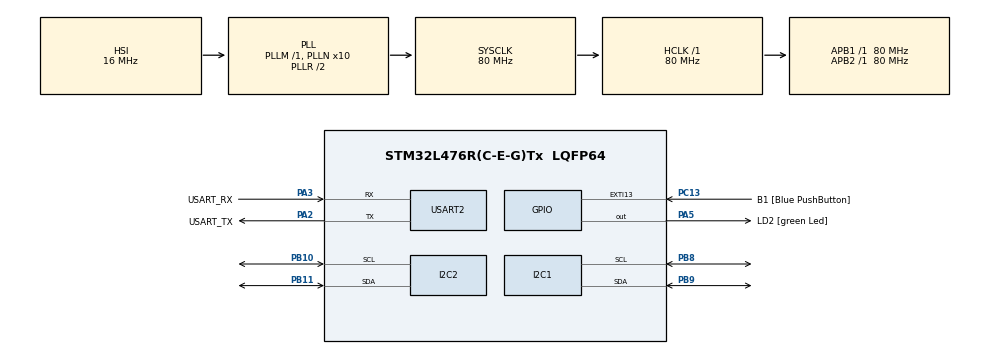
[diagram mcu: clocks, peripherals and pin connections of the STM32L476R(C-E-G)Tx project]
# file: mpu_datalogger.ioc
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I2C1.Timing=0x10D19CE4
I2C2.Timing=0x10D19CE4
Mcu.Family=STM32L4
Mcu.Name=STM32L476R(C-E-G)Tx
Mcu.Package=LQFP64
NVIC.PriorityGroup=NVIC_PRIORITYGROUP_4
PA13\ (JTMS-SWDIO).GPIO_Label=TMS
PA13\ (JTMS-SWDIO).Mode=Serial_Wire
PA13\ (JTMS-SWDIO).Signal=SYS_JTMS-SWDIO
PA14\ (JTCK-SWCLK).GPIO_Label=TCK
PA14\ (JTCK-SWCLK).Mode=Serial_Wire
PA14\ (JTCK-SWCLK).Signal=SYS_JTCK-SWCLK
PA2.GPIO_Label=USART_TX
PA2.GPIO_Mode=GPIO_MODE_AF_PP
PA2.GPIO_PuPd=GPIO_NOPULL
PA2.GPIO_Speed=GPIO_SPEED_FREQ_VERY_HIGH
PA2.Mode=Asynchronous
PA2.Signal=USART2_TX
PA3.GPIO_Label=USART_RX
PA3.GPIO_Mode=GPIO_MODE_AF_PP
PA3.GPIO_PuPd=GPIO_NOPULL
PA3.GPIO_Speed=GPIO_SPEED_FREQ_VERY_HIGH
PA3.Mode=Asynchronous
PA3.Signal=USART2_RX
PA5.GPIO_Label=LD2 [green Led]
PA5.GPIO_ModeDefaultOutputPP=GPIO_MODE_OUTPUT_PP
PA5.GPIO_PuPd=GPIO_NOPULL
PA5.GPIO_Speed=GPIO_SPEED_FREQ_LOW
PA5.Signal=GPIO_Output
PB10.Mode=I2C
PB10.Signal=I2C2_SCL
PB11.Mode=I2C
PB11.Signal=I2C2_SDA
PB3\ (JTDO-TRACESWO).GPIO_Label=SWO
PB3\ (JTDO-TRACESWO).Signal=SYS_JTDO-SWO
PB8.Mode=I2C
PB8.Signal=I2C1_SCL
PB9.Mode=I2C
PB9.Signal=I2C1_SDA
PC13.GPIO_Label=B1 [Blue PushButton]
PC13.GPIO_ModeDefaultEXTI=GPIO_MODE_IT_FALLING
PC13.GPIO_PuPd=GPIO_NOPULL
PC13.Signal=GPXTI13
PC14-OSC32_IN\ (PC14).Mode=LSE-External-Oscillator
PC14-OSC32_IN\ (PC14).Signal=RCC_OSC32_IN
PC15-OSC32_OUT\ (PC15).Mode=LSE-External-Oscillator
PC15-OSC32_OUT\ (PC15).Signal=RCC_OSC32_OUT
PH0-OSC_IN\ (PH0).Signal=RCC_OSC_IN
PH1-OSC_OUT\ (PH1).Signal=RCC_OSC_OUT
ProjectManager.HeapSize=0x200
ProjectManager.StackSize=0x400
ProjectManager.TargetToolchain=STM32CubeIDE
RCC.ADCFreq_Value=64000000
RCC.AHBFreq_Value=80000000
RCC.APB1Freq_Value=80000000
RCC.APB1TimFreq_Value=80000000
RCC.APB2Freq_Value=80000000
RCC.APB2TimFreq_Value=80000000
RCC.CortexFreq_Value=80000000
RCC.HCLKFreq_Value=80000000
RCC.HSE_VALUE=8000000
RCC.HSI_VALUE=16000000
RCC.MSI_VALUE=4000000
RCC.PLLN=10
RCC.PLLSourceVirtual=RCC_PLLSOURCE_HSI
RCC.PREFETCH_ENABLE=1
RCC.SYSCLKFreq_VALUE=80000000
RCC.SYSCLKSource=RCC_SYSCLKSOURCE_PLLCLK
RCC.USBFreq_Value=64000000
RCC.VCOOutputFreq_Value=160000000
USART2.VirtualMode-Asynchronous=VM_ASYNC
board=NUCLEO-L476RG

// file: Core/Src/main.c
/* USER CODE BEGIN Header */
/**
 ******************************************************************************
 * @file           : main.c
 * @brief          : Main program body
 ******************************************************************************
 * @attention
 *
 * Copyright (c) 2024 STMicroelectronics.
 * All rights reserved.
 *
 * This software is licensed under terms that can be found in the LICENSE file
 * in the root directory of this software component.
 * If no LICENSE file comes with this software, it is provided AS-IS.
 *
 ******************************************************************************
 */
/* USER CODE END Header */
#include "main.h"

/* USER CODE BEGIN Includes */
#include"stdio.h"
#include"string.h"
#include"mpu.h"
/* USER CODE END Includes */

/* USER CODE BEGIN PM */
#define BUFFER_SIZE 1
#define AXIS        3
/* USER CODE END PM */

I2C_HandleTypeDef hi2c1;
I2C_HandleTypeDef hi2c2;

UART_HandleTypeDef huart2;

/* USER CODE BEGIN PV */
float mpu_buffer[BUFFER_SIZE * AXIS] = { 0 };
/* USER CODE END PV */

void SystemClock_Config(void);
static void MX_GPIO_Init(void);
static void MX_USART2_UART_Init(void);
static void MX_I2C1_Init(void);
static void MX_I2C2_Init(void);
/* USER CODE BEGIN PFP */
void fill_mpu_buffer();
void Log();
/* USER CODE END PFP */

int main(void)
{

  /* MCU Configuration--------------------------------------------------------*/

  /* Reset of all peripherals, Initializes the Flash interface and the Systick. */
  HAL_Init();

  /* Configure the system clock */
  SystemClock_Config();

  /* Initialize all configured peripherals */
  MX_GPIO_Init();
  MX_USART2_UART_Init();
  MX_I2C1_Init();
  MX_I2C2_Init();
  /* USER CODE BEGIN 2 */
	MPU6050_Init();
	HAL_Delay(1000);
  /* USER CODE END 2 */

  /* Infinite loop */
  /* USER CODE BEGIN WHILE */
	while (1) {
		Log();
    /* USER CODE END WHILE */

	}
}

void SystemClock_Config(void)
{
  RCC_OscInitTypeDef RCC_OscInitStruct = {0};
  RCC_ClkInitTypeDef RCC_ClkInitStruct = {0};

  /** Configure the main internal regulator output voltage
  */
  if (HAL_PWREx_ControlVoltageScaling(PWR_REGULATOR_VOLTAGE_SCALE1) != HAL_OK)
  {
    Error_Handler();
  }

  /** Initializes the RCC Oscillators according to the specified parameters
  * in the RCC_OscInitTypeDef structure.
  */
  RCC_OscInitStruct.OscillatorType = RCC_OSCILLATORTYPE_HSI;
  RCC_OscInitStruct.HSIState = RCC_HSI_ON;
  RCC_OscInitStruct.HSICalibrationValue = RCC_HSICALIBRATION_DEFAULT;
  RCC_OscInitStruct.PLL.PLLState = RCC_PLL_ON;
  RCC_OscInitStruct.PLL.PLLSource = RCC_PLLSOURCE_HSI;
  RCC_OscInitStruct.PLL.PLLM = 1;
  RCC_OscInitStruct.PLL.PLLN = 10;
  RCC_OscInitStruct.PLL.PLLP = RCC_PLLP_DIV7;
  RCC_OscInitStruct.PLL.PLLQ = RCC_PLLQ_DIV2;
  RCC_OscInitStruct.PLL.PLLR = RCC_PLLR_DIV2;
  if (HAL_RCC_OscConfig(&RCC_OscInitStruct) != HAL_OK)
  {
    Error_Handler();
  }

  /** Initializes the CPU, AHB and APB buses clocks
  */
  RCC_ClkInitStruct.ClockType = RCC_CLOCKTYPE_HCLK|RCC_CLOCKTYPE_SYSCLK
                              |RCC_CLOCKTYPE_PCLK1|RCC_CLOCKTYPE_PCLK2;
  RCC_ClkInitStruct.SYSCLKSource = RCC_SYSCLKSOURCE_PLLCLK;
  RCC_ClkInitStruct.AHBCLKDivider = RCC_SYSCLK_DIV1;
  RCC_ClkInitStruct.APB1CLKDivider = RCC_HCLK_DIV1;
  RCC_ClkInitStruct.APB2CLKDivider = RCC_HCLK_DIV1;

  if (HAL_RCC_ClockConfig(&RCC_ClkInitStruct, FLASH_LATENCY_4) != HAL_OK)
  {
    Error_Handler();
  }
}

static void MX_I2C1_Init(void)
{

  hi2c1.Instance = I2C1;
  hi2c1.Init.Timing = 0x10D19CE4;
  hi2c1.Init.OwnAddress1 = 0;
  hi2c1.Init.AddressingMode = I2C_ADDRESSINGMODE_7BIT;
  hi2c1.Init.DualAddressMode = I2C_DUALADDRESS_DISABLE;
  hi2c1.Init.OwnAddress2 = 0;
  hi2c1.Init.OwnAddress2Masks = I2C_OA2_NOMASK;
  hi2c1.Init.GeneralCallMode = I2C_GENERALCALL_DISABLE;
  hi2c1.Init.NoStretchMode = I2C_NOSTRETCH_DISABLE;
  if (HAL_I2C_Init(&hi2c1) != HAL_OK)
  {
    Error_Handler();
  }

  /** Configure Analogue filter
  */
  if (HAL_I2CEx_ConfigAnalogFilter(&hi2c1, I2C_ANALOGFILTER_ENABLE) != HAL_OK)
  {
    Error_Handler();
  }

  /** Configure Digital filter
  */
  if (HAL_I2CEx_ConfigDigitalFilter(&hi2c1, 0) != HAL_OK)
  {
    Error_Handler();
  }

}

static void MX_I2C2_Init(void)
{

  hi2c2.Instance = I2C2;
  hi2c2.Init.Timing = 0x10D19CE4;
  hi2c2.Init.OwnAddress1 = 0;
  hi2c2.Init.AddressingMode = I2C_ADDRESSINGMODE_7BIT;
  hi2c2.Init.DualAddressMode = I2C_DUALADDRESS_DISABLE;
  hi2c2.Init.OwnAddress2 = 0;
  hi2c2.Init.OwnAddress2Masks = I2C_OA2_NOMASK;
  hi2c2.Init.GeneralCallMode = I2C_GENERALCALL_DISABLE;
  hi2c2.Init.NoStretchMode = I2C_NOSTRETCH_DISABLE;
  if (HAL_I2C_Init(&hi2c2) != HAL_OK)
  {
    Error_Handler();
  }

  /** Configure Analogue filter
  */
  if (HAL_I2CEx_ConfigAnalogFilter(&hi2c2, I2C_ANALOGFILTER_ENABLE) != HAL_OK)
  {
    Error_Handler();
  }

  /** Configure Digital filter
  */
  if (HAL_I2CEx_ConfigDigitalFilter(&hi2c2, 0) != HAL_OK)
  {
    Error_Handler();
  }

}

static void MX_USART2_UART_Init(void)
{

  huart2.Instance = USART2;
  huart2.Init.BaudRate = 115200;
  huart2.Init.WordLength = UART_WORDLENGTH_8B;
  huart2.Init.StopBits = UART_STOPBITS_1;
  huart2.Init.Parity = UART_PARITY_NONE;
  huart2.Init.Mode = UART_MODE_TX_RX;
  huart2.Init.HwFlowCtl = UART_HWCONTROL_NONE;
  huart2.Init.OverSampling = UART_OVERSAMPLING_16;
  huart2.Init.OneBitSampling = UART_ONE_BIT_SAMPLE_DISABLE;
  huart2.AdvancedInit.AdvFeatureInit = UART_ADVFEATURE_NO_INIT;
  if (HAL_UART_Init(&huart2) != HAL_OK)
  {
    Error_Handler();
  }

}

static void MX_GPIO_Init(void)
{
  GPIO_InitTypeDef GPIO_InitStruct = {0};

  /* GPIO Ports Clock Enable */
  __HAL_RCC_GPIOC_CLK_ENABLE();
  __HAL_RCC_GPIOH_CLK_ENABLE();
  __HAL_RCC_GPIOA_CLK_ENABLE();
  __HAL_RCC_GPIOB_CLK_ENABLE();

  /*Configure GPIO pin Output Level */
  HAL_GPIO_WritePin(LD2_GPIO_Port, LD2_Pin, GPIO_PIN_RESET);

  /*Configure GPIO pin : B1_Pin */
  GPIO_InitStruct.Pin = B1_Pin;
  GPIO_InitStruct.Mode = GPIO_MODE_IT_FALLING;
  GPIO_InitStruct.Pull = GPIO_NOPULL;
  HAL_GPIO_Init(B1_GPIO_Port, &GPIO_InitStruct);

  /*Configure GPIO pin : LD2_Pin */
  GPIO_InitStruct.Pin = LD2_Pin;
  GPIO_InitStruct.Mode = GPIO_MODE_OUTPUT_PP;
  GPIO_InitStruct.Pull = GPIO_NOPULL;
  GPIO_InitStruct.Speed = GPIO_SPEED_FREQ_LOW;
  HAL_GPIO_Init(LD2_GPIO_Port, &GPIO_InitStruct);

}

/* USER CODE BEGIN 4 */
void fill_mpu_buffer() {
	for (int i = 0; i < BUFFER_SIZE; i++) {
		MPU6050_Read_Accel(accel_data);
		mpu_buffer[AXIS * i] = Ax;
		mpu_buffer[AXIS * i + 1] = Ay;
		mpu_buffer[AXIS * i + 2] = Az;
	}
}

void Log() {
	fill_mpu_buffer();
	for (int i = 0; i < BUFFER_SIZE; i++) {
		printf("%.2f", mpu_buffer[AXIS * i]);
		printf(" ");
		printf("%.2f", mpu_buffer[AXIS * i + 1]);
		printf(" ");
		printf("%.2f", mpu_buffer[AXIS * i + 2]);
		printf(" ");
	}
	printf("\r\n");
	HAL_Delay(100);
}

int __io_putchar(int ch) {
	HAL_UART_Transmit(&huart2, (uint8_t*) &ch, 1, HAL_MAX_DELAY);
	return ch;
}
/* USER CODE END 4 */

void Error_Handler(void)
{
	__disable_irq();
	while (1) {
	}
}
